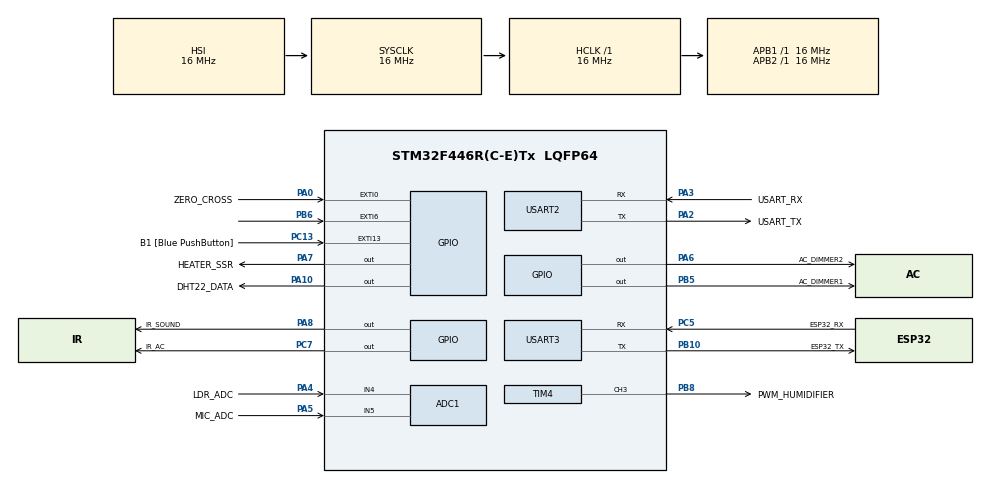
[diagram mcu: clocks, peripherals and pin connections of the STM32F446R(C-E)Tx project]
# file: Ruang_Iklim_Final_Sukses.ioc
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ADC1.Channel-1\#ChannelRegularConversion=ADC_CHANNEL_4
ADC1.Channel-2\#ChannelRegularConversion=ADC_CHANNEL_5
ADC1.ClockPrescaler=ADC_CLOCK_SYNC_PCLK_DIV8
ADC1.DMAContinuousRequests=ENABLE
ADC1.NbrOfConversion=2
ADC1.NbrOfConversionFlag=1
ADC1.Rank-1\#ChannelRegularConversion=1
ADC1.Rank-2\#ChannelRegularConversion=2
ADC1.SamplingTime-1\#ChannelRegularConversion=ADC_SAMPLETIME_480CYCLES
ADC1.SamplingTime-2\#ChannelRegularConversion=ADC_SAMPLETIME_480CYCLES
ADC1.ScanConvMode=ENABLE
ADC1.master=1
Dma.ADC1.0.Direction=DMA_PERIPH_TO_MEMORY
Dma.ADC1.0.FIFOMode=DMA_FIFOMODE_DISABLE
Dma.ADC1.0.Instance=DMA2_Stream0
Dma.ADC1.0.MemDataAlignment=DMA_MDATAALIGN_HALFWORD
Dma.ADC1.0.MemInc=DMA_MINC_ENABLE
Dma.ADC1.0.Mode=DMA_CIRCULAR
Dma.ADC1.0.PeriphDataAlignment=DMA_PDATAALIGN_HALFWORD
Dma.ADC1.0.PeriphInc=DMA_PINC_DISABLE
Dma.ADC1.0.Priority=DMA_PRIORITY_MEDIUM
Dma.Request0=ADC1
Mcu.Family=STM32F4
Mcu.Name=STM32F446R(C-E)Tx
Mcu.Package=LQFP64
NVIC.DMA2_Stream0_IRQn=true\:0\:2\:false\:false\:true\:false\:true\:true
NVIC.EXTI0_IRQn=true\:0\:0\:false\:false\:true\:true\:true\:true
NVIC.EXTI9_5_IRQn=true\:0\:1\:true\:false\:true\:true\:true\:true
NVIC.PriorityGroup=NVIC_PRIORITYGROUP_0
NVIC.USART2_IRQn=true\:0\:0\:false\:false\:true\:true\:true\:true
NVIC.USART3_IRQn=true\:0\:0\:false\:false\:true\:true\:true\:true
PA0-WKUP.GPIO_Label=ZERO_CROSS
PA0-WKUP.Signal=GPXTI0
PA10.GPIO_Label=DHT22_DATA
PA10.GPIO_ModeDefaultOutputPP=GPIO_MODE_OUTPUT_OD
PA10.GPIO_PuPd=GPIO_NOPULL
PA10.Signal=GPIO_Output
PA13.GPIO_Label=TMS
PA13.Signal=SYS_JTMS-SWDIO
PA14.GPIO_Label=TCK
PA14.Signal=SYS_JTCK-SWCLK
PA2.GPIO_Label=USART_TX
PA2.Mode=Asynchronous
PA2.Signal=USART2_TX
PA3.GPIO_Label=USART_RX
PA3.Mode=Asynchronous
PA3.Signal=USART2_RX
PA4.GPIO_Label=LDR_ADC
PA4.Signal=ADCx_IN4
PA5.GPIO_Label=MIC_ADC
PA5.Signal=ADCx_IN5
PA6.GPIO_Label=AC_DIMMER2
PA6.GPIO_Speed=GPIO_SPEED_FREQ_HIGH
PA6.Signal=GPIO_Output
PA7.GPIO_Label=HEATER_SSR
PA7.GPIO_Speed=GPIO_SPEED_FREQ_HIGH
PA7.Signal=GPIO_Output
PA8.GPIO_Label=IR_SOUND
PA8.GPIO_Speed=GPIO_SPEED_FREQ_HIGH
PA8.Signal=GPIO_Output
PB10.GPIO_Label=ESP32_TX
PB10.Mode=Asynchronous
PB10.Signal=USART3_TX
PB3.GPIO_Label=SWO
PB3.Signal=SYS_JTDO-SWO
PB5.GPIO_Label=AC_DIMMER1
PB5.Signal=GPIO_Output
PB6.GPIO_ModeDefaultEXTI=GPIO_MODE_IT_RISING_FALLING
PB6.GPIO_PuPd=GPIO_PULLUP
PB6.Signal=GPXTI6
PB8.GPIO_Label=PWM_HUMIDIFIER
PB8.GPIO_Speed=GPIO_SPEED_FREQ_HIGH
PB8.Signal=S_TIM4_CH3
PC13.GPIO_Label=B1 [Blue PushButton]
PC13.GPIO_ModeDefaultEXTI=GPIO_MODE_IT_FALLING
PC13.Signal=GPXTI13
PC14-OSC32_IN.Mode=LSE-External-Oscillator
PC14-OSC32_IN.Signal=RCC_OSC32_IN
PC15-OSC32_OUT.Mode=LSE-External-Oscillator
PC15-OSC32_OUT.Signal=RCC_OSC32_OUT
PC5.GPIO_Label=ESP32_RX
PC5.Mode=Asynchronous
PC5.Signal=USART3_RX
PC7.GPIO_Label=IR_AC
PC7.GPIO_Speed=GPIO_SPEED_FREQ_HIGH
PC7.Signal=GPIO_Output
PH0-OSC_IN.Mode=HSE-External-Oscillator
PH0-OSC_IN.Signal=RCC_OSC_IN
PH1-OSC_OUT.Mode=HSE-External-Oscillator
PH1-OSC_OUT.Signal=RCC_OSC_OUT
ProjectManager.HeapSize=0x200
ProjectManager.StackSize=0x400
ProjectManager.TargetToolchain=STM32CubeIDE
RCC.48MHZClocksFreq_Value=84000000
RCC.AHBFreq_Value=16000000
RCC.APB1Freq_Value=16000000
RCC.APB1TimFreq_Value=16000000
RCC.APB2Freq_Value=16000000
RCC.APB2TimFreq_Value=16000000
RCC.CortexFreq_Value=16000000
RCC.FLatency-AdvancedSettings=FLASH_LATENCY_0
RCC.HCLKFreq_Value=16000000
RCC.HSE_VALUE=8000000
RCC.HSI_VALUE=16000000
RCC.PLLN=336
RCC.PLLP=RCC_PLLP_DIV4
RCC.SYSCLKFreq_VALUE=16000000
RCC.USBFreq_Value=168000000
RCC.VCOOutputFreq_Value=336000000
SH.ADCx_IN4.0=ADC1_IN4,IN4
SH.ADCx_IN5.0=ADC1_IN5,IN5
SH.S_TIM4_CH3.0=TIM4_CH3,PWM Generation3 CH3
TIM4.AutoReloadPreload=TIM_AUTORELOAD_PRELOAD_ENABLE
TIM4.Channel-PWM\ Generation3\ CH3=TIM_CHANNEL_3
TIM4.Period=1000-1
TIM4.Prescaler=16-1
USART2.VirtualMode=VM_ASYNC
USART3.VirtualMode=VM_ASYNC
VP_IWDG_VS_IWDG.Mode=IWDG_Activate
VP_TIM4_VS_ClockSourceINT.Mode=Internal
board=NUCLEO-F446RE

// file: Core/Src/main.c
/* USER CODE BEGIN Header */
/**
  ******************************************************************************
  * @file           : main.c
  * @brief          : Main program body
  ******************************************************************************
  * @attention
  *
  * Copyright (c) 2026 STMicroelectronics.
  * All rights reserved.
  *
  * This software is licensed under terms that can be found in the LICENSE file
  * in the root directory of this software component.
  * If no LICENSE file comes with this software, it is provided AS-IS.
  *
  ******************************************************************************
  */
/* USER CODE END Header */
#include "main.h"

/* USER CODE BEGIN Includes */
#include "pinmap.h"
#include "system_status.h"
#include "debug_uart.h"
#include "actuator_heater.h"
#include "actuator_dimmer.h"
#include "actuator_humidifier.h"
#include "sensor_adc.h"
#include "sensor_dht22.h"
#include "ir_transmitter.h"
/* USER CODE END Includes */

ADC_HandleTypeDef hadc1;
DMA_HandleTypeDef hdma_adc1;

IWDG_HandleTypeDef hiwdg;

TIM_HandleTypeDef htim4;

UART_HandleTypeDef huart2;
UART_HandleTypeDef huart3;

void SystemClock_Config(void);
static void MX_GPIO_Init(void);
static void MX_DMA_Init(void);
static void MX_USART2_UART_Init(void);
static void MX_ADC1_Init(void);
static void MX_TIM4_Init(void);
static void MX_USART3_UART_Init(void);
static void MX_IWDG_Init(void);

int main(void)
{

  /* MCU Configuration--------------------------------------------------------*/

  /* Reset of all peripherals, Initializes the Flash interface and the Systick. */
  HAL_Init();

  /* Configure the system clock */
  SystemClock_Config();

  /* Initialize all configured peripherals */
  MX_GPIO_Init();
  MX_DMA_Init();
  MX_USART2_UART_Init();
  MX_ADC1_Init();
  MX_TIM4_Init();
  MX_USART3_UART_Init();
  MX_IWDG_Init();
  /* USER CODE BEGIN 2 */
  // MINIMAL BOOT
  HAL_Delay(100);
  Debug_Print("\r\n\r\n");
  Debug_Print("=== CLIMATE SYSTEM BOOT ===\r\n");

  // BASIC INIT
  SystemStatus_Init();
  Debug_UART_Init();
  Actuator_Heater_Init();
  Actuator_Humidifier_Init();
  Sensor_ADC_Init();
  Sensor_DHT22_Init();

  Debug_Print("[OK] Basic modules\r\n");
  HAL_Delay(100);

  // INITIAL SENSOR TEST
  Sensor_ADC_Task();
  uint16_t light = Sensor_ADC_Get_Light();
  uint16_t sound = Sensor_ADC_Get_Sound();
  Debug_Printf("[ADC] Light: %d, Sound: %d\r\n", light, sound);

  // DHT22 INITIAL TEST (3 attempts)
  Debug_Print("\r\n[DHT22] Initial test (3 attempts):\r\n");
  for (int i = 0; i < 3; i++) {
      Debug_Printf("  Attempt %d: ", i + 1);
      if (Sensor_DHT22_Read_Now()) {
          Debug_Printf("OK (%.1f°C %.1f%%)\r\n",
                      Sensor_DHT22_Get_Temperature(),
                      Sensor_DHT22_Get_Humidity());
          break;
      } else {
          Debug_Print("FAIL\r\n");
          if (i < 2) HAL_Delay(100);
      }
  }

  // READY
  Debug_Print("\r\n> READY <\r\n");
  Debug_Print("Type 'HELP' for commands\r\n");
  Debug_Print("> ");

  /* USER CODE END 2 */

  /* Infinite loop */
  /* USER CODE BEGIN WHILE */
  uint32_t last_watchdog_refresh = 0;
  uint32_t last_heater_task = 0;
  uint32_t last_dimmer_task = 0;
  uint32_t last_humidifier_task = 0;
  uint32_t last_adc_task = 0;
  uint32_t last_dht22_auto = 0;
  uint32_t last_status_update = 0;
  uint32_t last_sensor_display = 0;
  uint32_t startup_time = HAL_GetTick();

  while (1)
  {
      uint32_t current_time = HAL_GetTick();

      /* 1. Watchdog Refresh (every 300ms) */
      if ((current_time - last_watchdog_refresh) >= 300) {
          HAL_IWDG_Refresh(&hiwdg);
          last_watchdog_refresh = current_time;
      }

      /* 2. Process Debug Commands (non-blocking) */
      Debug_Process_Commands();

      /* 3. Heater Task (every 100ms) */
      if ((current_time - last_heater_task) >= 100) {
          Actuator_Heater_Task();
          last_heater_task = current_time;
      }

      /* 4. Dimmer Task (every 10ms) */
      if ((current_time - last_dimmer_task) >= 10) {
          Actuator_Dimmer_Task();
          last_dimmer_task = current_time;
      }

      /* 5. Humidifier Task (every 100ms) */
      if ((current_time - last_humidifier_task) >= 100) {
          Actuator_Humidifier_Task();
          last_humidifier_task = current_time;
      }

      /* 6. ADC Sensor Task (every 500ms) */
      if ((current_time - last_adc_task) >= 500) {
          Sensor_ADC_Task();
          last_adc_task = current_time;
      }

      /* 7. DHT22 Auto-Read (every 3 seconds) */
      if ((current_time - last_dht22_auto) >= 3000) {
          if (Sensor_DHT22_Read_Now()) {
              // Success - silent mode (data in sys_status)
          }
          last_dht22_auto = current_time;
      }

      /* 8. Auto-display sensors every 10 seconds */
      if ((current_time - last_sensor_display) >= 10000) {
          if (sys_status.esp32_connected) {
              Debug_Print("\r\n[AUTO] Sensor Update:\r\n");
              Debug_Show_All_Sensors();
              Debug_Print("> ");
          }
          last_sensor_display = current_time;
      }

      /* 9. Update System Status Uptime (every 10ms) */
      if ((current_time - last_status_update) >= 10) {
          SystemStatus_Update_Uptime();
          last_status_update = current_time;
      }

      /* 10. Small delay for power saving */
      HAL_Delay(10);
  /* USER CODE END WHILE */
  }
}

void SystemClock_Config(void)
{
  RCC_OscInitTypeDef RCC_OscInitStruct = {0};
  RCC_ClkInitTypeDef RCC_ClkInitStruct = {0};

  /** Configure the main internal regulator output voltage
  */
  __HAL_RCC_PWR_CLK_ENABLE();
  __HAL_PWR_VOLTAGESCALING_CONFIG(PWR_REGULATOR_VOLTAGE_SCALE3);

  /** Initializes the RCC Oscillators according to the specified parameters
  * in the RCC_OscInitTypeDef structure.
  */
  RCC_OscInitStruct.OscillatorType = RCC_OSCILLATORTYPE_HSI|RCC_OSCILLATORTYPE_LSI;
  RCC_OscInitStruct.HSIState = RCC_HSI_ON;
  RCC_OscInitStruct.HSICalibrationValue = RCC_HSICALIBRATION_DEFAULT;
  RCC_OscInitStruct.LSIState = RCC_LSI_ON;
  RCC_OscInitStruct.PLL.PLLState = RCC_PLL_NONE;
  if (HAL_RCC_OscConfig(&RCC_OscInitStruct) != HAL_OK)
  {
    Error_Handler();
  }

  /** Initializes the CPU, AHB and APB buses clocks
  */
  RCC_ClkInitStruct.ClockType = RCC_CLOCKTYPE_HCLK|RCC_CLOCKTYPE_SYSCLK
                              |RCC_CLOCKTYPE_PCLK1|RCC_CLOCKTYPE_PCLK2;
  RCC_ClkInitStruct.SYSCLKSource = RCC_SYSCLKSOURCE_HSI;
  RCC_ClkInitStruct.AHBCLKDivider = RCC_SYSCLK_DIV1;
  RCC_ClkInitStruct.APB1CLKDivider = RCC_HCLK_DIV1;
  RCC_ClkInitStruct.APB2CLKDivider = RCC_HCLK_DIV1;

  if (HAL_RCC_ClockConfig(&RCC_ClkInitStruct, FLASH_LATENCY_0) != HAL_OK)
  {
    Error_Handler();
  }
}

static void MX_ADC1_Init(void)
{

  ADC_ChannelConfTypeDef sConfig = {0};

  /** Configure the global features of the ADC (Clock, Resolution, Data Alignment and number of conversion)
  */
  hadc1.Instance = ADC1;
  hadc1.Init.ClockPrescaler = ADC_CLOCK_SYNC_PCLK_DIV8;
  hadc1.Init.Resolution = ADC_RESOLUTION_12B;
  hadc1.Init.ScanConvMode = ENABLE;
  hadc1.Init.ContinuousConvMode = DISABLE;
  hadc1.Init.DiscontinuousConvMode = DISABLE;
  hadc1.Init.ExternalTrigConvEdge = ADC_EXTERNALTRIGCONVEDGE_NONE;
  hadc1.Init.ExternalTrigConv = ADC_SOFTWARE_START;
  hadc1.Init.DataAlign = ADC_DATAALIGN_RIGHT;
  hadc1.Init.NbrOfConversion = 2;
  hadc1.Init.DMAContinuousRequests = ENABLE;
  hadc1.Init.EOCSelection = ADC_EOC_SINGLE_CONV;
  if (HAL_ADC_Init(&hadc1) != HAL_OK)
  {
    Error_Handler();
  }

  /** Configure for the selected ADC regular channel its corresponding rank in the sequencer and its sample time.
  */
  sConfig.Channel = ADC_CHANNEL_4;
  sConfig.Rank = 1;
  sConfig.SamplingTime = ADC_SAMPLETIME_480CYCLES;
  if (HAL_ADC_ConfigChannel(&hadc1, &sConfig) != HAL_OK)
  {
    Error_Handler();
  }

  /** Configure for the selected ADC regular channel its corresponding rank in the sequencer and its sample time.
  */
  sConfig.Channel = ADC_CHANNEL_5;
  sConfig.Rank = 2;
  if (HAL_ADC_ConfigChannel(&hadc1, &sConfig) != HAL_OK)
  {
    Error_Handler();
  }

}

static void MX_IWDG_Init(void)
{

  hiwdg.Instance = IWDG;
  hiwdg.Init.Prescaler = IWDG_PRESCALER_4;
  hiwdg.Init.Reload = 4095;
  if (HAL_IWDG_Init(&hiwdg) != HAL_OK)
  {
    Error_Handler();
  }

}

static void MX_TIM4_Init(void)
{

  TIM_ClockConfigTypeDef sClockSourceConfig = {0};
  TIM_MasterConfigTypeDef sMasterConfig = {0};
  TIM_OC_InitTypeDef sConfigOC = {0};

  htim4.Instance = TIM4;
  htim4.Init.Prescaler = 16-1;
  htim4.Init.CounterMode = TIM_COUNTERMODE_UP;
  htim4.Init.Period = 1000-1;
  htim4.Init.ClockDivision = TIM_CLOCKDIVISION_DIV1;
  htim4.Init.AutoReloadPreload = TIM_AUTORELOAD_PRELOAD_ENABLE;
  if (HAL_TIM_Base_Init(&htim4) != HAL_OK)
  {
    Error_Handler();
  }
  sClockSourceConfig.ClockSource = TIM_CLOCKSOURCE_INTERNAL;
  if (HAL_TIM_ConfigClockSource(&htim4, &sClockSourceConfig) != HAL_OK)
  {
    Error_Handler();
  }
  if (HAL_TIM_PWM_Init(&htim4) != HAL_OK)
  {
    Error_Handler();
  }
  sMasterConfig.MasterOutputTrigger = TIM_TRGO_RESET;
  sMasterConfig.MasterSlaveMode = TIM_MASTERSLAVEMODE_DISABLE;
  if (HAL_TIMEx_MasterConfigSynchronization(&htim4, &sMasterConfig) != HAL_OK)
  {
    Error_Handler();
  }
  sConfigOC.OCMode = TIM_OCMODE_PWM1;
  sConfigOC.Pulse = 0;
  sConfigOC.OCPolarity = TIM_OCPOLARITY_HIGH;
  sConfigOC.OCFastMode = TIM_OCFAST_DISABLE;
  if (HAL_TIM_PWM_ConfigChannel(&htim4, &sConfigOC, TIM_CHANNEL_3) != HAL_OK)
  {
    Error_Handler();
  }
  HAL_TIM_MspPostInit(&htim4);

}

static void MX_USART2_UART_Init(void)
{

  huart2.Instance = USART2;
  huart2.Init.BaudRate = 115200;
  huart2.Init.WordLength = UART_WORDLENGTH_8B;
  huart2.Init.StopBits = UART_STOPBITS_1;
  huart2.Init.Parity = UART_PARITY_NONE;
  huart2.Init.Mode = UART_MODE_TX_RX;
  huart2.Init.HwFlowCtl = UART_HWCONTROL_NONE;
  huart2.Init.OverSampling = UART_OVERSAMPLING_16;
  if (HAL_UART_Init(&huart2) != HAL_OK)
  {
    Error_Handler();
  }

}

static void MX_USART3_UART_Init(void)
{

  huart3.Instance = USART3;
  huart3.Init.BaudRate = 115200;
  huart3.Init.WordLength = UART_WORDLENGTH_8B;
  huart3.Init.StopBits = UART_STOPBITS_1;
  huart3.Init.Parity = UART_PARITY_NONE;
  huart3.Init.Mode = UART_MODE_TX_RX;
  huart3.Init.HwFlowCtl = UART_HWCONTROL_NONE;
  huart3.Init.OverSampling = UART_OVERSAMPLING_16;
  if (HAL_UART_Init(&huart3) != HAL_OK)
  {
    Error_Handler();
  }

}

static void MX_DMA_Init(void)
{

  /* DMA controller clock enable */
  __HAL_RCC_DMA2_CLK_ENABLE();

  /* DMA interrupt init */
  /* DMA2_Stream0_IRQn interrupt configuration */
  HAL_NVIC_SetPriority(DMA2_Stream0_IRQn, 0, 2);
  HAL_NVIC_EnableIRQ(DMA2_Stream0_IRQn);

}

static void MX_GPIO_Init(void)
{
  GPIO_InitTypeDef GPIO_InitStruct = {0};

  /* GPIO Ports Clock Enable */
  __HAL_RCC_GPIOC_CLK_ENABLE();
  __HAL_RCC_GPIOH_CLK_ENABLE();
  __HAL_RCC_GPIOA_CLK_ENABLE();
  __HAL_RCC_GPIOB_CLK_ENABLE();

  /*Configure GPIO pin Output Level */
  HAL_GPIO_WritePin(GPIOA, AC_DIMMER2_Pin|HEATER_SSR_Pin|IR_SOUND_Pin|DHT22_DATA_Pin, GPIO_PIN_RESET);

  /*Configure GPIO pin Output Level */
  HAL_GPIO_WritePin(IR_AC_GPIO_Port, IR_AC_Pin, GPIO_PIN_RESET);

  /*Configure GPIO pin Output Level */
  HAL_GPIO_WritePin(AC_DIMMER1_GPIO_Port, AC_DIMMER1_Pin, GPIO_PIN_RESET);

  /*Configure GPIO pin : B1_Pin */
  GPIO_InitStruct.Pin = B1_Pin;
  GPIO_InitStruct.Mode = GPIO_MODE_IT_FALLING;
  GPIO_InitStruct.Pull = GPIO_NOPULL;
  HAL_GPIO_Init(B1_GPIO_Port, &GPIO_InitStruct);

  /*Configure GPIO pin : ZERO_CROSS_Pin */
  GPIO_InitStruct.Pin = ZERO_CROSS_Pin;
  GPIO_InitStruct.Mode = GPIO_MODE_IT_RISING;
  GPIO_InitStruct.Pull = GPIO_NOPULL;
  HAL_GPIO_Init(ZERO_CROSS_GPIO_Port, &GPIO_InitStruct);

  /*Configure GPIO pins : AC_DIMMER2_Pin HEATER_SSR_Pin IR_SOUND_Pin */
  GPIO_InitStruct.Pin = AC_DIMMER2_Pin|HEATER_SSR_Pin|IR_SOUND_Pin;
  GPIO_InitStruct.Mode = GPIO_MODE_OUTPUT_PP;
  GPIO_InitStruct.Pull = GPIO_NOPULL;
  GPIO_InitStruct.Speed = GPIO_SPEED_FREQ_HIGH;
  HAL_GPIO_Init(GPIOA, &GPIO_InitStruct);

  /*Configure GPIO pin : IR_AC_Pin */
  GPIO_InitStruct.Pin = IR_AC_Pin;
  GPIO_InitStruct.Mode = GPIO_MODE_OUTPUT_PP;
  GPIO_InitStruct.Pull = GPIO_NOPULL;
  GPIO_InitStruct.Speed = GPIO_SPEED_FREQ_HIGH;
  HAL_GPIO_Init(IR_AC_GPIO_Port, &GPIO_InitStruct);

  /*Configure GPIO pin : DHT22_DATA_Pin */
  GPIO_InitStruct.Pin = DHT22_DATA_Pin;
  GPIO_InitStruct.Mode = GPIO_MODE_OUTPUT_OD;
  GPIO_InitStruct.Pull = GPIO_NOPULL;
  GPIO_InitStruct.Speed = GPIO_SPEED_FREQ_LOW;
  HAL_GPIO_Init(DHT22_DATA_GPIO_Port, &GPIO_InitStruct);

  /*Configure GPIO pin : AC_DIMMER1_Pin */
  GPIO_InitStruct.Pin = AC_DIMMER1_Pin;
  GPIO_InitStruct.Mode = GPIO_MODE_OUTPUT_PP;
  GPIO_InitStruct.Pull = GPIO_NOPULL;
  GPIO_InitStruct.Speed = GPIO_SPEED_FREQ_LOW;
  HAL_GPIO_Init(AC_DIMMER1_GPIO_Port, &GPIO_InitStruct);

  /*Configure GPIO pin : PB6 */
  GPIO_InitStruct.Pin = GPIO_PIN_6;
  GPIO_InitStruct.Mode = GPIO_MODE_IT_RISING_FALLING;
  GPIO_InitStruct.Pull = GPIO_PULLUP;
  HAL_GPIO_Init(GPIOB, &GPIO_InitStruct);

  /* EXTI interrupt init*/
  HAL_NVIC_SetPriority(EXTI0_IRQn, 0, 0);
  HAL_NVIC_EnableIRQ(EXTI0_IRQn);

  HAL_NVIC_SetPriority(EXTI9_5_IRQn, 0, 1);
  HAL_NVIC_EnableIRQ(EXTI9_5_IRQn);

}

void Error_Handler(void)
{
  __disable_irq();
  while (1)
  {
  }
}
